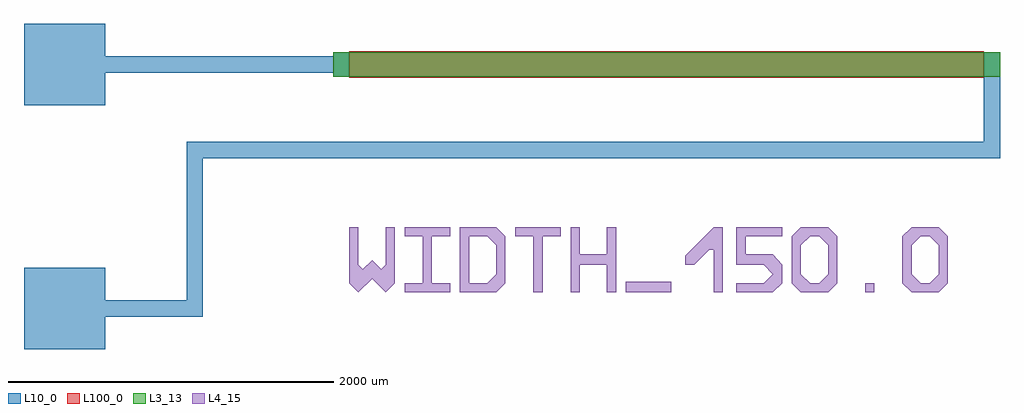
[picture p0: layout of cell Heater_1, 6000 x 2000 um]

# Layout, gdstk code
import gdstk
lib = gdstk.Library(unit=1e-6, precision=5e-09)
def R(c, l, rs):  # rectangles x0, y0, x1, y1
    for r in rs: c.add(gdstk.rectangle(r[:2], r[2:], *l))
def P(c, l, *ps):  # polygons
    for p in ps: c.add(gdstk.Polygon(p, *l))
L3_13 = (3, 13)
L4_15 = (4, 15)
L10_0 = (10, 0)
L100_0 = (100, 0)

heater_1 = lib.new_cell('Heater_1')
R(heater_1, L3_13, [(7900,925,12000,1075)])
R(heater_1, L4_15, [(9700,-400,9980,-336), (11172,-400,11228,-344)])
P(heater_1, L4_15, [(8000,-344),(8056,-400),(8140,-316),(8224,-400),(8280,-344),(8280,0),(8224,0),(8224,-232),(8196,-260),(8140,-204),(8084,-260),(8056,-232),(8056,0),(8000,0)],
  [(8620,-400),(8620,-344),(8508,-344),(8508,-56),(8620,-56),(8620,0),(8340,0),(8340,-56),(8452,-56),(8452,-344),(8340,-344),(8340,-400)],
  [(8736,-400),(8736,-56),(8848,-56),(8904,-112),(8904,-288),(8848,-344),(8736,-344),(8736,-400),(8904,-400),(8960,-344),(8960,-56),(8904,0),(8680,0),(8680,-400)],
  [(9188,-400),(9188,-56),(9300,-56),(9300,0),(9020,0),(9020,-56),(9132,-56),(9132,-400)],
  [(9416,-400),(9416,-232),(9584,-232),(9584,-400),(9640,-400),(9640,0),(9584,0),(9584,-168),(9416,-168),(9416,0),(9360,0),(9360,-400)],
  [(10296,-400),(10296,0),(10240,0),(10064,-176),(10064,-232),(10120,-232),(10212,-140),(10240,-140),(10240,-400)],
  [(10604,-400),(10660,-344),(10660,-232),(10604,-168),(10436,-168),(10436,-56),(10660,-56),(10660,0),(10380,0),(10380,-232),(10548,-232),(10604,-288),(10548,-344),(10380,-344),(10380,-400)],
  [(10832,-400),(10832,-344),(10776,-288),(10776,-112),(10832,-56),(10888,-56),(10944,-112),(10944,-288),(10888,-344),(10832,-344),(10832,-400),(10944,-400),(11000,-344),(11000,-56),(10944,0),(10776,0),(10720,-56),(10720,-344),(10776,-400)],
  [(11512,-400),(11512,-344),(11456,-288),(11456,-112),(11512,-56),(11568,-56),(11624,-112),(11624,-288),(11568,-344),(11512,-344),(11512,-400),(11624,-400),(11680,-344),(11680,-56),(11624,0),(11456,0),(11400,-56),(11400,-344),(11456,-400)])
R(heater_1, L10_0, [(6000,-750,6500,-250), (6500,-550,7000,-450), (7000,-550,7100,425), (7000,425,11900,525), (11900,425,12000,925), (6000,750,6500,1250), (7900,925,8000,1075), (11900,925,12000,1075), (6500,950,7900,1050)])
R(heater_1, L100_0, [(8000,920,11900,1080)])

lib.write_gds('Heater_1.gds')
